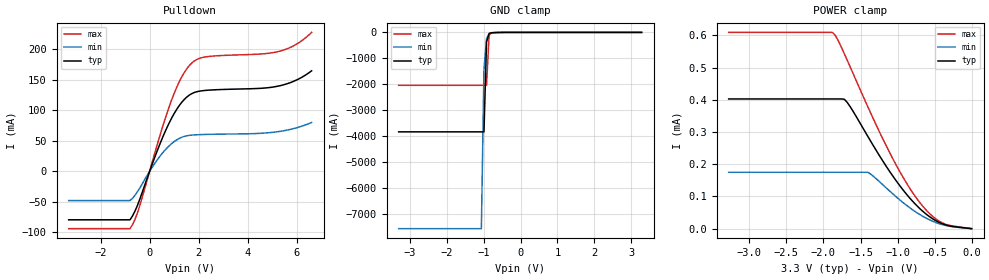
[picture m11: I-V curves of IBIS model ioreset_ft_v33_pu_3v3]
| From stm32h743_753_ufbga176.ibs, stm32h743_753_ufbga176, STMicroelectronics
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||   Model ioreset_ft_v33_pu_3v3
[Model]  ioreset_ft_v33_pu_3v3
Model_type I/O_open_drain
Polarity   Inverting
Enable   Active-High
Vinl =   0.990000V
Vinh =   2.310000V
Vmeas =  1.650000V
Cref =   30.000000pF
Rref =   100.000000M
Vref =   0.0V
C_comp   2.915100pF   2.893500pF   2.942800pF
[Temperature Range]   25.000000   0.140000k   -40.000000
[Pullup Reference]   3.300000V   2.700000V   3.600000V
[Pulldown Reference]   0.0V   0.0V   0.0V
[POWER Clamp Reference]   3.300000V   2.700000V   3.600000V
[GND Clamp Reference]   0.0V   0.0V   0.0V
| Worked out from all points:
|   slope of the pulldown table from 0 to 0.495 V, typ, clamps not added: 9.48 ohm
|   GND clamp passes 1 mA (typ) near -0.48 V on its own axis
[Pulldown]
|Voltage   I(typ)   I(min)   I(max)
-3.3V     -79.48mA   -47.94mA   -93.99mA
-800mV    -79.48mA   -47.94mA   -93.99mA
-500mV    -56.14mA   -33.65mA   -68.54mA
300mV     32.67mA    18.27mA    42.35mA
900mV     87.45mA    45.51mA    117.4mA
1.2V      107.3mA    53.74mA    146.2mA
1.4V      117.3mA    57.06mA    161.1mA
1.8V      128.8mA    59.59mA    180.1mA
2.4V      133mA      60.51mA    188.1mA
5.3V      140.1mA    65.36mA    196.8mA
6V        149.8mA    71.43mA    208.7mA
6.6V      164.6mA    79.95mA    227.6mA
[GND_clamp]
|Voltage   I(typ)   I(min)   I(max)
-3.3V     -3.828A    -7.552A    -2.036A
-1.06V    -3.828A    -7.552A    -2.036A
-990mV    -3.828A    -1.425A    -2.036A
-920mV    -368.6mA   -243.1mA   -2.036A
-850mV    -40.92mA   -46.27mA   -98.43mA
-780mV    -13.14mA   -14.53mA   -15.8mA
-500mV    -1.204mA   -1.764mA   -1.056mA
3.28V     0A         44.34nA    0A
[POWER_clamp]
|Voltage   I(typ)   I(min)   I(max)
-3.28V    402.8uA    175.1uA    609.5uA
-1.88V    402.8uA    175.1uA    609.5uA
-1.84V    402.8uA    175.1uA    600uA
-1.72V    402uA      175.1uA    544.1uA
-1.64V    379uA      175.1uA    502.6uA
-1.4V     286.1uA    175.1uA    377.9uA
-1.04V    155.6uA    103.2uA    206.8uA
-760mV    76.14uA    52.81uA    99.84uA
-600mV    42.68uA    31.04uA    54.31uA
-440mV    19.61uA    15.53uA    23.51uA
-320mV    9.712uA    8.354uA    11.41uA
0V        0A         45.48nA    0A
[Ramp]
| variable   typ   min   max
dV/dt_r  1.98000/0.15018u   1.61874/0.18656u   2.16000/0.12857u
dV/dt_f  1.98000/60.00007n   1.61874/60.00088n   2.16000/60.00001n
R_load = 40.000000M
|[Rising Waveform]
|R_fixture= 40.000000M
|V_fixture= 3.300000
|V_fixture_min= 2.700000
|V_fixture_max= 3.600000
||time   V(typ)   V(min)   V(max)
|0.0S   0.736460uV   1.057100uV   0.633560uV
|0.550551uS   0.736440uV   1.057000uV   3.600691V
|1.101101uS   0.736430uV   1.057000uV   3.605799V
|1.651652uS   0.736430uV   1.057100uV   3.605900V
|2.202202uS   0.736420uV   1.057100uV   3.606000V
|2.752753uS   0.736410uV   1.057200uV   3.606000V
|3.303303uS   0.736400uV   1.057300uV   3.606000V
|3.853854uS   0.736390uV   1.057400uV   3.606000V
|4.404404uS   0.736380uV   1.057300uV   3.606000V
|4.954955uS   0.736360uV   1.057200uV   3.606000V
|5.505506uS   0.736350uV   1.057000uV   3.606000V
|6.056056uS   0.736340uV   1.056900uV   3.606000V
|6.606607uS   0.736340uV   1.057100uV   3.606100V
|7.157157uS   0.736330uV   1.057300uV   3.606100V
|7.707708uS   0.736320uV   1.057400uV   3.606100V
|8.258258uS   0.736440uV   1.057300uV   3.606100V
|8.808809uS   3.289703V   1.057200uV   3.606100V
|9.359359uS   3.298600V   1.057000uV   3.606100V
|9.909910uS   3.298800V   1.056900uV   3.606100V
|10.460460uS   3.298900V   1.056900uV   3.606100V
|11.011011uS   3.298900V   1.057000uV   3.606100V
|11.561562uS   3.298900V   1.057100uV   3.606100V
|12.112112uS   3.299000V   1.057200uV   3.606100V
|12.662663uS   3.299000V   1.057300uV   3.606100V
|13.213213uS   3.299000V   1.057400uV   3.606100V
|13.763764uS   3.299000V   1.057300uV   3.606100V
|14.314314uS   3.299000V   1.057200uV   3.606100V
|14.864865uS   3.299000V   1.057100uV   3.606100V
|15.415415uS   3.299000V   1.057000uV   3.606100V
|15.965966uS   3.299000V   1.056900uV   3.606100V
|16.516517uS   3.299000V   1.056800uV   3.606100V
|17.067067uS   3.299000V   1.056900uV   3.606100V
|17.617618uS   3.299000V   1.056900uV   3.606100V
|18.168168uS   3.299000V   1.057000uV   3.606100V
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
